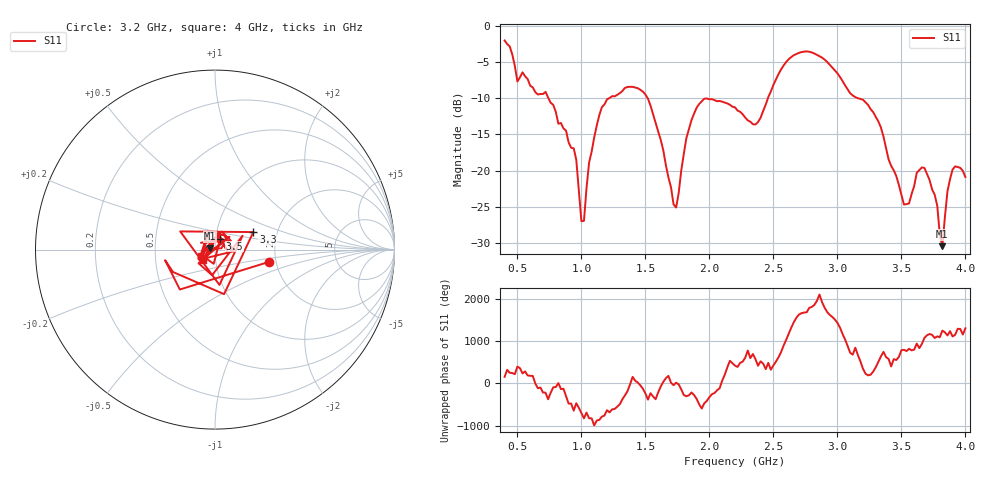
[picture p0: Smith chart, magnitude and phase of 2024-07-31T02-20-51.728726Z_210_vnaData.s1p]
!Created with skrf (http://scikit-rf.org).
# Hz S RI R 50.0
!freq ReS11 ImS11
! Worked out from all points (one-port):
!   181 points, 400 MHz to 4 GHz, reference 50 ohm
!   lowest |S11| = -30.5 dB at 3.82 GHz (marker M1), VSWR 1.06, Z = 47.2 + j0.626 ohm
!   |S11| at or under -10 dB: 742.6 MHz to 1.215 GHz (472.9 MHz wide, 48.3 % of centre); 1.518 GHz to 2.457 GHz (939 MHz wide, 47.2 % of centre); 3.162 GHz to end of sweep
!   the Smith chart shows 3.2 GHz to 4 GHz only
!   S11 on the Smith chart (normalised r, x): 3.2 GHz: 1.84, -0.28; 3.3 GHz: 1.50, +0.31; 3.5 GHz: 1.05, +0.13; 4 GHz: 0.87, -0.10
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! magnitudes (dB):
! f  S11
! 400 MHz  -2.0
! 500 MHz  -7.7
! 720 MHz  -9.1
! 860 MHz  -14.2
! 960 MHz  -18.5
! 1 GHz  -27.0
! 1.02 GHz  -27.0
! 1.06 GHz  -18.9
! 1.14 GHz  -12.3
! 1.3 GHz  -9.3
! 1.52 GHz  -10.1
! 1.72 GHz  -24.7
! 1.76 GHz  -23.1
! 1.82 GHz  -15.5
! 1.9 GHz  -11.3
! 2.2 GHz  -11.3
! 2.36 GHz  -13.6
! 2.66 GHz  -4.0
! 3.1 GHz  -9.3
! 3.2 GHz  -10.2
! 3.3 GHz  -12.6
! 3.5 GHz  -23.4
! 3.56 GHz  -24.6
! 3.68 GHz  -19.6
! 3.78 GHz  -24.9
! 3.82 GHz  -30.5
! 3.9 GHz  -19.9
! 4 GHz  -20.9
